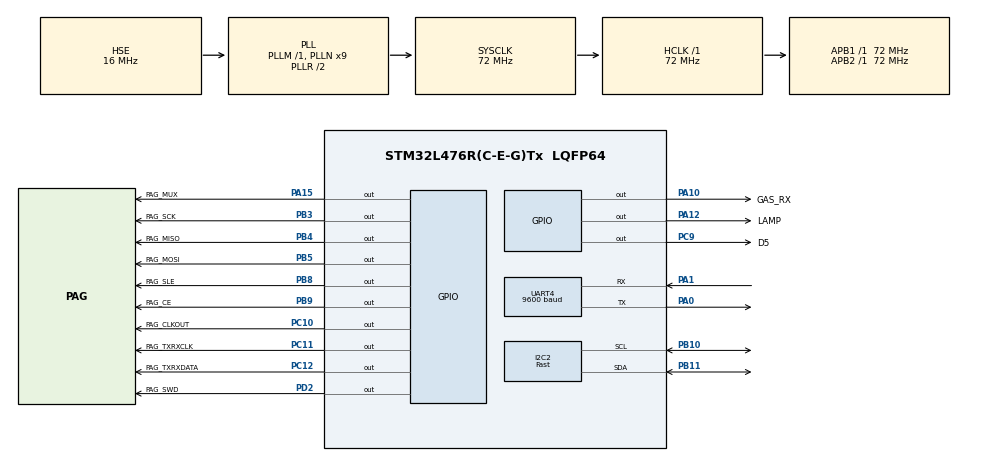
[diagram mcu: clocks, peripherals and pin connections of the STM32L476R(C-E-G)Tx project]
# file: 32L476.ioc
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I2C2.I2C_Speed_Mode=I2C_Fast
I2C2.Timing=0x00702681
Mcu.Family=STM32L4
Mcu.Name=STM32L476R(C-E-G)Tx
Mcu.Package=LQFP64
NVIC.PriorityGroup=NVIC_PRIORITYGROUP_4
NVIC.UART4_IRQn=true\:0\:0\:false\:false\:true\:true\:true\:true
PA0.Mode=Asynchronous
PA0.Signal=UART4_TX
PA1.Mode=Asynchronous
PA1.Signal=UART4_RX
PA10.GPIO_Label=GAS_RX
PA10.Signal=GPIO_Output
PA12.GPIO_Label=LAMP
PA12.Signal=GPIO_Output
PA13\ (JTMS-SWDIO).Mode=Serial_Wire
PA13\ (JTMS-SWDIO).Signal=SYS_JTMS-SWDIO
PA14\ (JTCK-SWCLK).Mode=Serial_Wire
PA14\ (JTCK-SWCLK).Signal=SYS_JTCK-SWCLK
PA15\ (JTDI).GPIO_Label=PAG_MUX
PA15\ (JTDI).Signal=GPIO_Output
PB10.Mode=I2C
PB10.Signal=I2C2_SCL
PB11.Mode=I2C
PB11.Signal=I2C2_SDA
PB3\ (JTDO-TRACESWO).GPIO_Label=PAG_SCK
PB3\ (JTDO-TRACESWO).Signal=GPIO_Output
PB4\ (NJTRST).GPIO_Label=PAG_MISO
PB4\ (NJTRST).Signal=GPIO_Output
PB5.GPIO_Label=PAG_MOSI
PB5.Signal=GPIO_Output
PB6.Signal=I2C1_SCL
PB7.Signal=I2C1_SDA
PB8.GPIO_Label=PAG_SLE
PB8.Signal=GPIO_Output
PB9.GPIO_Label=PAG_CE
PB9.Signal=GPIO_Output
PC10.GPIO_Label=PAG_CLKOUT
PC10.Signal=GPIO_Output
PC11.GPIO_Label=PAG_TXRXCLK
PC11.Signal=GPIO_Output
PC12.GPIO_Label=PAG_TXRXDATA
PC12.Signal=GPIO_Output
PC9.GPIO_Label=D5
PC9.Signal=GPIO_Output
PD2.GPIO_Label=PAG_SWD
PD2.Signal=GPIO_Output
PH0-OSC_IN\ (PH0).Mode=HSE-External-Oscillator
PH0-OSC_IN\ (PH0).Signal=RCC_OSC_IN
PH1-OSC_OUT\ (PH1).Mode=HSE-External-Oscillator
PH1-OSC_OUT\ (PH1).Signal=RCC_OSC_OUT
ProjectManager.HeapSize=0x200
ProjectManager.StackSize=0x400
ProjectManager.TargetToolchain=STM32CubeIDE
RCC.ADCFreq_Value=64000000
RCC.AHBFreq_Value=72000000
RCC.APB1Freq_Value=72000000
RCC.APB1TimFreq_Value=72000000
RCC.APB2Freq_Value=72000000
RCC.APB2TimFreq_Value=72000000
RCC.CortexFreq_Value=72000000
RCC.HCLKFreq_Value=72000000
RCC.HSE_VALUE=16000000
RCC.HSI_VALUE=16000000
RCC.LSE_VALUE=32768
RCC.MSI_VALUE=4000000
RCC.PLLN=9
RCC.PLLSourceVirtual=RCC_PLLSOURCE_HSE
RCC.SYSCLKFreq_VALUE=72000000
RCC.SYSCLKSource=RCC_SYSCLKSOURCE_PLLCLK
RCC.UART4CLockSelection=RCC_UART4CLKSOURCE_SYSCLK
RCC.USBFreq_Value=64000000
RCC.VCOOutputFreq_Value=144000000
UART4.BaudRate=9600
board=custom

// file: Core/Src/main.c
/* USER CODE BEGIN Header */
/**
  ******************************************************************************
  * @file           : main.c
  * @brief          : Main program body
  ******************************************************************************
  * @attention
  *
  * Copyright (c) 2024 STMicroelectronics.
  * All rights reserved.
  *
  * This software is licensed under terms that can be found in the LICENSE file
  * in the root directory of this software component.
  * If no LICENSE file comes with this software, it is provided AS-IS.
  *
  ******************************************************************************
  */
/* USER CODE END Header */
#include "main.h"

/* USER CODE BEGIN PD */

#define 	BUFFER_SIZE   	16
#define 	MAX_ADDR 		256

/* USER CODE END PD */

I2C_HandleTypeDef hi2c2;

UART_HandleTypeDef huart4;

/* USER CODE BEGIN PV */

uint8_t data_in[BUFFER_SIZE];
uint8_t data_out[BUFFER_SIZE+2];

/* USER CODE END PV */

void SystemClock_Config(void);
static void MX_GPIO_Init(void);
static void MX_I2C2_Init(void);
static void MX_UART4_Init(void);

/* USER CODE BEGIN 0 */

//-----------------------------
void check_eeprom ()
{

#define BUFFER   32

uint8_t dock_in[BUFFER];
uint8_t dock_out[BUFFER];

		HAL_GPIO_WritePin(D5_GPIO_Port, D5_Pin, RESET);
		HAL_Delay(2000);

		HAL_GPIO_WritePin(D5_GPIO_Port, D5_Pin, SET);
		HAL_Delay(500);

		uint8_t i=0;

		for(i=0; i<BUFFER; i++)
		{
			dock_in[i]=i;
			dock_out[i]=0;
		}
		dock_out[BUFFER-1]=13;

		for(i=0; i<BUFFER; i++)
		{
			dock_in[i]=i;
			dock_out[i]=0;
		}

/*
 *
 *
		HAL_I2C_Mem_Write(&hi2c2, 0xA0, 0xFFF, I2C_MEMADD_SIZE_16BIT, data_in, 1, 150); //  0xFFFFFFFFFFFFFFFF
		HAL_I2C_Mem_Read(&hi2c2, 0xA0, 0xFFF, I2C_MEMADD_SIZE_16BIT, data_out, 1, 150);
		HAL_UART_Transmit(&huart4, data_out, BUFFER, 150);
		data_out[15]=13;
		HAL_UART_Transmit(&huart4, data_out[15], 1, 150);
		HAL_Delay(1000);
 *
 *
 *
 *
 * */

		HAL_I2C_Mem_Write(&hi2c2, 0xA0, 0x01, I2C_MEMADD_SIZE_8BIT, dock_in, BUFFER, 100);
		HAL_Delay(500);

		HAL_I2C_Mem_Read(&hi2c2, 0xA0, 0x01, I2C_MEMADD_SIZE_8BIT, dock_out, BUFFER, 100);
		HAL_Delay(500);

		HAL_UART_Transmit_IT(&huart4, dock_out, BUFFER);
		HAL_Delay(500);

	/*
	uint8_t dataBuffer[10] = {0xFF};

	for(uint8_t i=0x00; i<0xFF; i++)
	{
		HAL_I2C_Mem_Write(&hi2c1, (0xA0 << 1), i, I2C_MEMADD_SIZE_8BIT, dataBuffer, 1, 100);
		//j++;
	}
	*/

}

//-------------------------------------
void erase_eeprom ()
{

#define 	BUFFER_SIZE   	16
#define 	MAX_ADDR 		256

uint8_t dock_in[BUFFER_SIZE];
uint8_t dock_out[BUFFER_SIZE];

		HAL_GPIO_WritePin(D5_GPIO_Port, D5_Pin, SET);
		HAL_Delay(2000);

		HAL_GPIO_WritePin(D5_GPIO_Port, D5_Pin, RESET);
		HAL_Delay(500);

		uint16_t i=0x00;

		for(i=0; i<BUFFER_SIZE; i++)
		{
			dock_in[i]=0xFF;
			dock_out[i]=0;
		}

		///-------general cycle------
		for(i=0x00; i<MAX_ADDR; i++)
		{
			HAL_I2C_Mem_Write(&hi2c2, 0xA0, i, I2C_MEMADD_SIZE_8BIT, dock_in, BUFFER_SIZE, 1000);
			HAL_Delay(500);

			HAL_I2C_Mem_Read(&hi2c2, 0xA0, i, I2C_MEMADD_SIZE_8BIT, dock_out, BUFFER_SIZE, 1000);
			HAL_UART_Transmit(&huart4, dock_out, BUFFER_SIZE, 1000);

			dock_out[1]=i;
			dock_out[2]=13;
			dock_out[0]=13;

			HAL_UART_Transmit(&huart4, dock_out, 3, 1000);

		}

		HAL_Delay(1500);

		HAL_GPIO_WritePin(D5_GPIO_Port, D5_Pin, SET);

		HAL_Delay(1500);

}

/* USER CODE END 0 */

int main(void)
{

  /* MCU Configuration--------------------------------------------------------*/

  /* Reset of all peripherals, Initializes the Flash interface and the Systick. */
  HAL_Init();

  /* Configure the system clock */
  SystemClock_Config();

  /* Initialize all configured peripherals */
  MX_GPIO_Init();
  MX_I2C2_Init();
  MX_UART4_Init();
  /* USER CODE BEGIN 2 */

  	  	  erase_eeprom();

  /* USER CODE END 2 */

  /* Infinite loop */
  while (1)
  {

    /* USER CODE BEGIN 3 */

		//check_eeprom();

		//erase_eeprom();

// buffer-size data_in data_out

  }
  /* USER CODE END 3 */
}

void SystemClock_Config(void)
{
  RCC_OscInitTypeDef RCC_OscInitStruct = {0};
  RCC_ClkInitTypeDef RCC_ClkInitStruct = {0};

  /** Configure the main internal regulator output voltage
  */
  if (HAL_PWREx_ControlVoltageScaling(PWR_REGULATOR_VOLTAGE_SCALE1) != HAL_OK)
  {
    Error_Handler();
  }

  /** Initializes the RCC Oscillators according to the specified parameters
  * in the RCC_OscInitTypeDef structure.
  */
  RCC_OscInitStruct.OscillatorType = RCC_OSCILLATORTYPE_HSE;
  RCC_OscInitStruct.HSEState = RCC_HSE_ON;
  RCC_OscInitStruct.PLL.PLLState = RCC_PLL_ON;
  RCC_OscInitStruct.PLL.PLLSource = RCC_PLLSOURCE_HSE;
  RCC_OscInitStruct.PLL.PLLM = 1;
  RCC_OscInitStruct.PLL.PLLN = 9;
  RCC_OscInitStruct.PLL.PLLP = RCC_PLLP_DIV7;
  RCC_OscInitStruct.PLL.PLLQ = RCC_PLLQ_DIV2;
  RCC_OscInitStruct.PLL.PLLR = RCC_PLLR_DIV2;
  if (HAL_RCC_OscConfig(&RCC_OscInitStruct) != HAL_OK)
  {
    Error_Handler();
  }

  /** Initializes the CPU, AHB and APB buses clocks
  */
  RCC_ClkInitStruct.ClockType = RCC_CLOCKTYPE_HCLK|RCC_CLOCKTYPE_SYSCLK
                              |RCC_CLOCKTYPE_PCLK1|RCC_CLOCKTYPE_PCLK2;
  RCC_ClkInitStruct.SYSCLKSource = RCC_SYSCLKSOURCE_PLLCLK;
  RCC_ClkInitStruct.AHBCLKDivider = RCC_SYSCLK_DIV1;
  RCC_ClkInitStruct.APB1CLKDivider = RCC_HCLK_DIV1;
  RCC_ClkInitStruct.APB2CLKDivider = RCC_HCLK_DIV1;

  if (HAL_RCC_ClockConfig(&RCC_ClkInitStruct, FLASH_LATENCY_4) != HAL_OK)
  {
    Error_Handler();
  }
}

static void MX_I2C2_Init(void)
{

  hi2c2.Instance = I2C2;
  hi2c2.Init.Timing = 0x00702681;
  hi2c2.Init.OwnAddress1 = 0;
  hi2c2.Init.AddressingMode = I2C_ADDRESSINGMODE_7BIT;
  hi2c2.Init.DualAddressMode = I2C_DUALADDRESS_DISABLE;
  hi2c2.Init.OwnAddress2 = 0;
  hi2c2.Init.OwnAddress2Masks = I2C_OA2_NOMASK;
  hi2c2.Init.GeneralCallMode = I2C_GENERALCALL_DISABLE;
  hi2c2.Init.NoStretchMode = I2C_NOSTRETCH_DISABLE;
  if (HAL_I2C_Init(&hi2c2) != HAL_OK)
  {
    Error_Handler();
  }

  /** Configure Analogue filter
  */
  if (HAL_I2CEx_ConfigAnalogFilter(&hi2c2, I2C_ANALOGFILTER_ENABLE) != HAL_OK)
  {
    Error_Handler();
  }

  /** Configure Digital filter
  */
  if (HAL_I2CEx_ConfigDigitalFilter(&hi2c2, 0) != HAL_OK)
  {
    Error_Handler();
  }

}

static void MX_UART4_Init(void)
{

  huart4.Instance = UART4;
  huart4.Init.BaudRate = 9600;
  huart4.Init.WordLength = UART_WORDLENGTH_8B;
  huart4.Init.StopBits = UART_STOPBITS_1;
  huart4.Init.Parity = UART_PARITY_NONE;
  huart4.Init.Mode = UART_MODE_TX_RX;
  huart4.Init.HwFlowCtl = UART_HWCONTROL_NONE;
  huart4.Init.OverSampling = UART_OVERSAMPLING_16;
  huart4.Init.OneBitSampling = UART_ONE_BIT_SAMPLE_DISABLE;
  huart4.AdvancedInit.AdvFeatureInit = UART_ADVFEATURE_NO_INIT;
  if (HAL_UART_Init(&huart4) != HAL_OK)
  {
    Error_Handler();
  }

}

static void MX_GPIO_Init(void)
{
  GPIO_InitTypeDef GPIO_InitStruct = {0};

  /* GPIO Ports Clock Enable */
  __HAL_RCC_GPIOH_CLK_ENABLE();
  __HAL_RCC_GPIOA_CLK_ENABLE();
  __HAL_RCC_GPIOB_CLK_ENABLE();
  __HAL_RCC_GPIOC_CLK_ENABLE();
  __HAL_RCC_GPIOD_CLK_ENABLE();

  /*Configure GPIO pin Output Level */
  HAL_GPIO_WritePin(GPIOC, D5_Pin|PAG_CLKOUT_Pin|PAG_TXRXCLK_Pin|PAG_TXRXDATA_Pin, GPIO_PIN_RESET);

  /*Configure GPIO pin Output Level */
  HAL_GPIO_WritePin(GPIOA, GAS_RX_Pin|LAMP_Pin|PAG_MUX_Pin, GPIO_PIN_RESET);

  /*Configure GPIO pin Output Level */
  HAL_GPIO_WritePin(PAG_SWD_GPIO_Port, PAG_SWD_Pin, GPIO_PIN_RESET);

  /*Configure GPIO pin Output Level */
  HAL_GPIO_WritePin(GPIOB, PAG_SCK_Pin|PAG_MISO_Pin|PAG_MOSI_Pin|PAG_SLE_Pin
                          |PAG_CE_Pin, GPIO_PIN_RESET);

  /*Configure GPIO pins : D5_Pin PAG_CLKOUT_Pin PAG_TXRXCLK_Pin PAG_TXRXDATA_Pin */
  GPIO_InitStruct.Pin = D5_Pin|PAG_CLKOUT_Pin|PAG_TXRXCLK_Pin|PAG_TXRXDATA_Pin;
  GPIO_InitStruct.Mode = GPIO_MODE_OUTPUT_PP;
  GPIO_InitStruct.Pull = GPIO_NOPULL;
  GPIO_InitStruct.Speed = GPIO_SPEED_FREQ_LOW;
  HAL_GPIO_Init(GPIOC, &GPIO_InitStruct);

  /*Configure GPIO pins : GAS_RX_Pin LAMP_Pin PAG_MUX_Pin */
  GPIO_InitStruct.Pin = GAS_RX_Pin|LAMP_Pin|PAG_MUX_Pin;
  GPIO_InitStruct.Mode = GPIO_MODE_OUTPUT_PP;
  GPIO_InitStruct.Pull = GPIO_NOPULL;
  GPIO_InitStruct.Speed = GPIO_SPEED_FREQ_LOW;
  HAL_GPIO_Init(GPIOA, &GPIO_InitStruct);

  /*Configure GPIO pin : PAG_SWD_Pin */
  GPIO_InitStruct.Pin = PAG_SWD_Pin;
  GPIO_InitStruct.Mode = GPIO_MODE_OUTPUT_PP;
  GPIO_InitStruct.Pull = GPIO_NOPULL;
  GPIO_InitStruct.Speed = GPIO_SPEED_FREQ_LOW;
  HAL_GPIO_Init(PAG_SWD_GPIO_Port, &GPIO_InitStruct);

  /*Configure GPIO pins : PAG_SCK_Pin PAG_MISO_Pin PAG_MOSI_Pin PAG_SLE_Pin
                           PAG_CE_Pin */
  GPIO_InitStruct.Pin = PAG_SCK_Pin|PAG_MISO_Pin|PAG_MOSI_Pin|PAG_SLE_Pin
                          |PAG_CE_Pin;
  GPIO_InitStruct.Mode = GPIO_MODE_OUTPUT_PP;
  GPIO_InitStruct.Pull = GPIO_NOPULL;
  GPIO_InitStruct.Speed = GPIO_SPEED_FREQ_LOW;
  HAL_GPIO_Init(GPIOB, &GPIO_InitStruct);

  /*Configure GPIO pins : PB6 PB7 */
  GPIO_InitStruct.Pin = GPIO_PIN_6|GPIO_PIN_7;
  GPIO_InitStruct.Mode = GPIO_MODE_AF_OD;
  GPIO_InitStruct.Pull = GPIO_NOPULL;
  GPIO_InitStruct.Speed = GPIO_SPEED_FREQ_VERY_HIGH;
  GPIO_InitStruct.Alternate = GPIO_AF4_I2C1;
  HAL_GPIO_Init(GPIOB, &GPIO_InitStruct);

}

void Error_Handler(void)
{
  __disable_irq();
  while (1)
  {
  }
}
